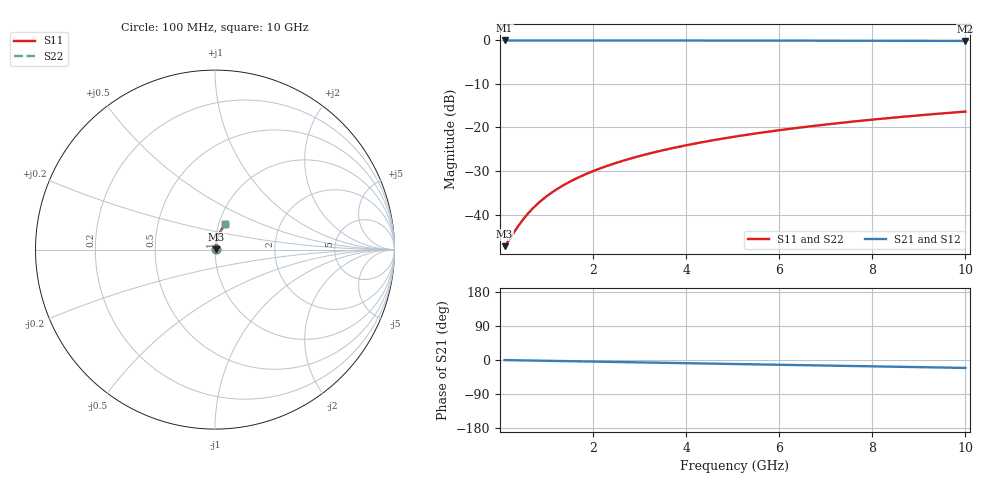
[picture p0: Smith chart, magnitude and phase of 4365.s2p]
# Hz S RI R 50.00
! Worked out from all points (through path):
!   100 points, 100 MHz to 10 GHz, reference 50 ohm
!   highest |S21| = -0.04 dB at 100 MHz (marker M1); lowest = -0.1 dB at 10 GHz (marker M2)
!   group delay of S21, straight-line fit = 5.8 ps
!   lowest |S11| = -47.2 dB at 100 MHz (marker M3), VSWR 1.01, Z = 50.4 + j0.156 ohm
!   |S11| at or under -10 dB: start of sweep to end of sweep
!   |S22| runs from -47.2 to -16.4 dB; largest |S21 - S12| = 0
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1e8  0.00406 0.00155  0.9959 -0.00365  0.9959 -0.00365  0.00406 0.00155
2e8  0.00411 0.0031  0.9959 -0.0073  0.9959 -0.0073  0.00411 0.0031
4e8  0.00421 0.0062  0.9957 -0.0146  0.9957 -0.0146  0.00421 0.0062
5e8  0.00427 0.00775  0.9957 -0.0183  0.9957 -0.0183  0.00427 0.00775
6e8  0.00435 0.0093  0.9956 -0.0219  0.9956 -0.0219  0.00435 0.0093
7e8  0.00443 0.0108  0.9954 -0.0255  0.9954 -0.0255  0.00443 0.0108
8e8  0.00453 0.0124  0.9953 -0.0292  0.9953 -0.0292  0.00453 0.0124
1e9  0.00475 0.0155  0.995 -0.0365  0.995 -0.0365  0.00475 0.0155
1.2e9  0.00501 0.0186  0.9946 -0.0438  0.9946 -0.0438  0.00501 0.0186
1.5e9  0.00549 0.0232  0.994 -0.0547  0.994 -0.0547  0.00549 0.0232
1.8e9  0.00607 0.0278  0.9932 -0.0656  0.9932 -0.0656  0.00607 0.0278
2.1e9  0.00675 0.0324  0.9922 -0.0765  0.9922 -0.0765  0.00675 0.0324
2.5e9  0.00781 0.0385  0.9908 -0.091  0.9908 -0.091  0.00781 0.0385
2.9e9  0.00904 0.0446  0.989 -0.1055  0.989 -0.1055  0.00904 0.0446
3.4e9  0.0108 0.0521  0.9865 -0.1235  0.9865 -0.1235  0.0108 0.0521
4.2e9  0.0143 0.064  0.9817 -0.1522  0.9817 -0.1522  0.0143 0.064
5.1e9  0.0189 0.0771  0.9752 -0.1842  0.9752 -0.1842  0.0189 0.0771
5.9e9  0.0238 0.0884  0.9684 -0.2123  0.9684 -0.2123  0.0238 0.0884
6.7e9  0.0293 0.0994  0.9606 -0.2402  0.9606 -0.2402  0.0293 0.0994
7.5e9  0.0354 0.11  0.9519 -0.2676  0.9519 -0.2676  0.0354 0.11
8.4e9  0.043 0.1215  0.9411 -0.298  0.9411 -0.298  0.043 0.1215
1e10  0.0583 0.1405  0.9192 -0.3507  0.9192 -0.3507  0.0583 0.1405
